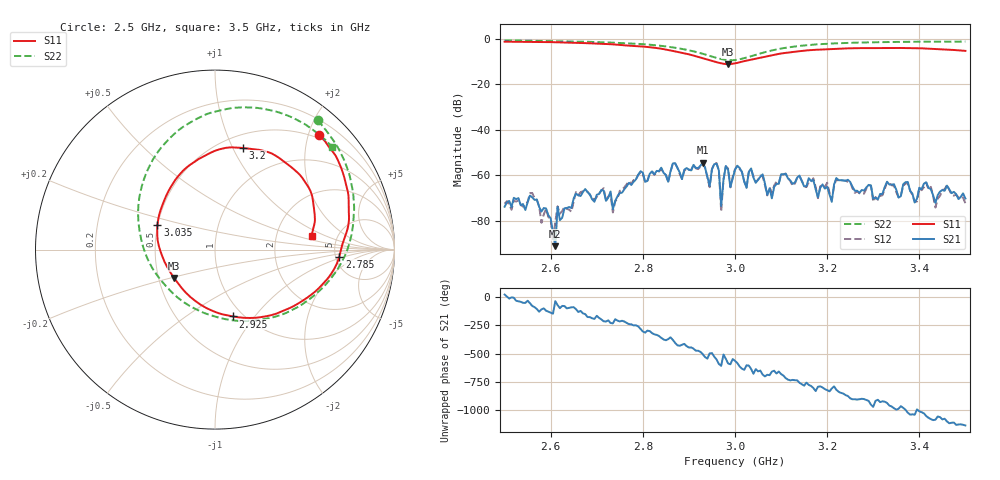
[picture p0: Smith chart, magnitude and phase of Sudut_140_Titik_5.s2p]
# Hz S RI R 50
! CMT, C1220, 16058040, 17.2.0/1
! Date: 15/08/2018 10:24:47
! Data: Format (Calibration Info)
! Freq  S11: Re/Im (F2)  S21: Re/Im (F2)  S12: Re/Im (F2)  S22: Re/Im (F2)
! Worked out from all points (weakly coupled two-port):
!   201 points, 2.5 GHz to 3.5 GHz, reference 50 ohm
!   highest |S21| = -54.37 dB at 2.93 GHz (marker M1); lowest = -91.0 dB at 2.61 GHz (marker M2)
!   lowest |S11| = -11.1 dB at 2.985 GHz (marker M3), VSWR 1.77, Z = 30.1 - j10.3 ohm
!   |S11| at or under -10 dB: 2.955 GHz to 3.016 GHz (61.09 MHz wide, 2.05 % of centre)
!   |S22| runs from -9.4 to -0.7 dB; largest |S21 - S12| = 0.00017
!   S11 on the Smith chart (normalised r, x): 2.5 GHz: 0.44, +2.19; 2.785 GHz: 5.39, -0.82; 2.925 GHz: 0.90, -0.78; 3.035 GHz: 0.50, +0.15; 3.2 GHz: 0.63, +1.10; 3.5 GHz: 3.21, +0.71
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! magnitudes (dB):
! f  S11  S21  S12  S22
! 2.5 GHz  -1.3  -73.7  -72.4  -0.7
! 2.56 GHz  -1.4  -69.6  -67.7  -0.9
! 2.61 GHz  -1.5  -91.0  -80.4  -1.0
! 2.67 GHz  -1.9  -67.2  -66.9  -1.3
! 2.735 GHz  -2.4  -74.8  -76.2  -1.7
! 2.785 GHz  -3.2  -61.7  -61.9  -2.2
! 2.835 GHz  -4.2  -58.1  -58.3  -3.0
! 2.925 GHz  -8.3  -55.7  -56.2  -6.3
! 2.93 GHz  -8.6  -54.4  -54.7  -6.6
! 2.945 GHz  -9.4  -64.7  -65.2  -7.5
! 2.96 GHz  -10.3  -54.8  -54.6  -8.4
! 2.97 GHz  -10.8  -73.3  -75.9  -8.9
! 2.985 GHz  -11.1  -57.4  -57.0  -9.4
! 3 GHz  -10.8  -57.5  -57.3  -9.4
! 3.035 GHz  -9.2  -56.9  -57.4  -7.7
! 3.08 GHz  -7.2  -70.0  -67.6  -5.1
! 3.1 GHz  -6.5  -59.5  -59.5  -4.3
! 3.17 GHz  -4.9  -61.9  -61.2  -2.6
! 3.2 GHz  -4.6  -65.0  -63.2  -2.2
! 3.3 GHz  -4.1  -70.2  -71.5  -1.5
! 3.335 GHz  -4.0  -64.0  -63.3  -1.4
! 3.5 GHz  -5.3  -70.1  -72.2  -1.2
